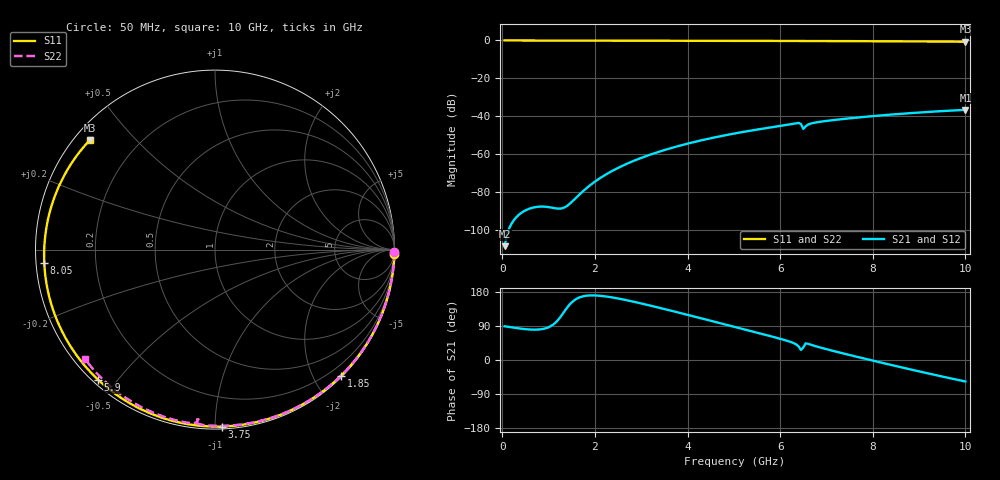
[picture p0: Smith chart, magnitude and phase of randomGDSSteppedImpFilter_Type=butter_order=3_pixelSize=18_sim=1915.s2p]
! freq	dB(S11)	phase(S11)	dB(S12)	phase(S12)
!  dB(S21)	phase(S21)	dB(S22)	phase(S22)
!S-par simulation data
#  GHz  S  DB  R 50
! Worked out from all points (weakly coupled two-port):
!   200 points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, 50 MHz to 10 GHz, reference 50 ohm
!   highest |S21| = -36.55 dB at 10 GHz (marker M1); lowest = -108.4 dB at 50 MHz (marker M2)
!   lowest |S11| = -0.7 dB at 10 GHz (marker M3), VSWR 26.36, Z = 2.16 + j18.7 ohm
!   |S11| at or under -10 dB: nowhere
!   |S22| runs from -0.5 to 0.0 dB; largest |S21 - S12| = 0
!   S11 on the Smith chart (normalised r, x): 50 MHz: 0, -92; 1.85 GHz: 0.02, -2.41; 3.75 GHz: 0.01, -1.04; 5.9 GHz: 0.02, -0.45; 8.05 GHz: 0.02, -0.04; 10 GHz: 0.04, +0.37
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0.05  -0.00 -1.3  -108.38 89.0  -108.38 89.0  -0.00 -0.8
0.85  -0.03 -21.0  -87.52 81.3  -87.52 81.3  -0.02 -13.7
1.7  -0.05 -41.5  -80.38 166.6  -80.38 166.6  -0.03 -27.2
1.75  -0.05 -42.7  -79.27 168.2  -79.27 168.2  -0.04 -28.0
1.85  -0.06 -45.1  -77.18 170.1  -77.18 170.1  -0.04 -29.5
2.15  -0.07 -52.1  -71.92 169.0  -71.92 169.0  -0.04 -34.2
2.5  -0.08 -60.2  -67.15 162.3  -67.15 162.3  -0.05 -39.6
3.4  -0.10 -80.3  -58.51 137.5  -58.51 137.5  -0.07 -53.2
3.75  -0.12 -87.8  -55.98 126.9  -55.98 126.9  -0.08 -58.3
4.4  -0.14 -101.5  -52.06 106.7  -52.06 106.7  -0.10 -67.7
5.05  -0.17 -114.9  -48.86 86.3  -48.86 86.3  -0.12 -76.9
5.9  -0.22 -131.9  -45.41 59.3  -45.41 59.3  -0.15 -88.5
6.4  -0.26 -141.9  -43.44 35.8  -43.44 35.8  -0.25 -95.9
6.45  -0.26 -142.9  -44.02 26.5  -44.02 26.5  -0.39 -96.6
6.5  -0.27 -143.9  -46.62 33.3  -46.62 33.3  -0.45 -95.6
6.6  -0.27 -145.9  -44.37 42.8  -44.37 42.8  -0.23 -96.9
6.7  -0.28 -147.9  -43.56 38.8  -43.56 38.8  -0.21 -98.5
7.4  -0.34 -162.1  -41.27 16.2  -41.27 16.2  -0.24 -107.7
8.05  -0.41 -175.6  -39.76 -3.1  -39.76 -3.1  -0.28 -115.9
8.35  -0.44 177.9  -39.14 -11.7  -39.14 -11.7  -0.31 -119.7
9.2  -0.55 158.7  -37.65 -35.6  -37.65 -35.6  -0.39 -130.1
10  -0.66 138.9  -36.55 -56.7  -36.55 -56.7  -0.48 -139.9
